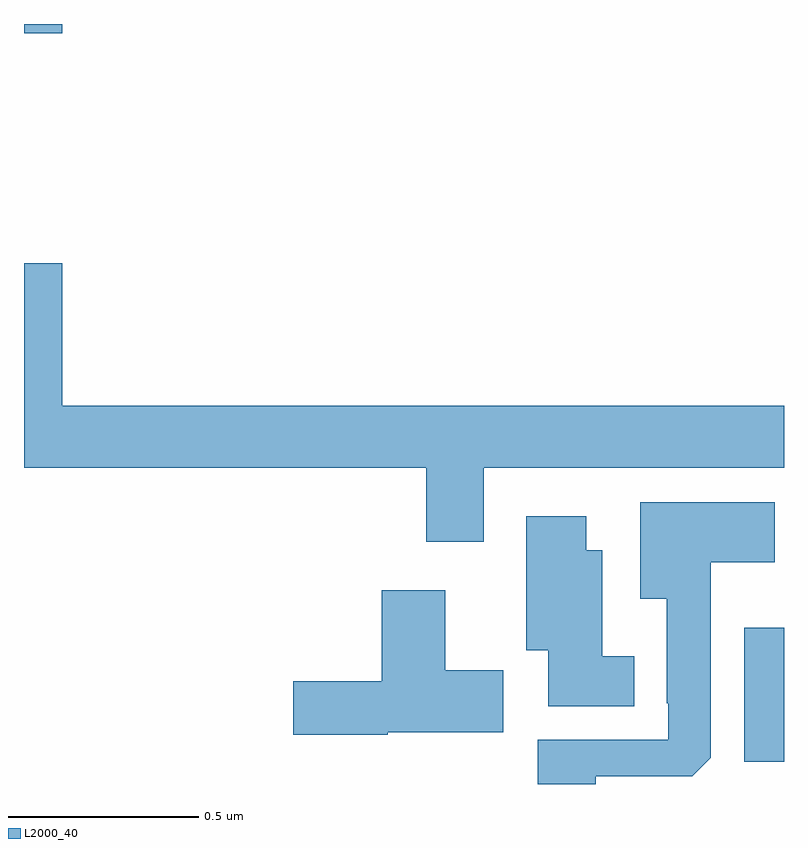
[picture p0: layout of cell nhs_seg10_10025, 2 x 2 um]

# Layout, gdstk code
import gdstk
lib = gdstk.Library(unit=1e-6, precision=1e-09)
def R(c, l, rs):  # rectangles x0, y0, x1, y1
    for r in rs: c.add(gdstk.rectangle(r[:2], r[2:], *l))
def P(c, l, *ps):  # polygons
    for p in ps: c.add(gdstk.Polygon(p, *l))
L2000_40 = (2000, 40)

nhs_seg10_10025 = lib.new_cell('nhs_seg10_10025')
R(nhs_seg10_10025, L2000_40, [(238.895,1283.558,239,1283.911), (237,1285.476,237.1,1285.5)])
P(nhs_seg10_10025, L2000_40, [(238.21,1284.332),(239,1284.332),(239,1284.496),(237.1,1284.496),(237.1,1284.871),(237,1284.871),(237,1284.332),(238.058,1284.332),(238.058,1284.138),(238.21,1284.138)],
  [(238.504,1283.52),(238.758,1283.52),(238.807,1283.569),(238.807,1284.083),(238.975,1284.083),(238.975,1284.241),(238.622,1284.241),(238.622,1283.987),(238.691,1283.987),(238.691,1283.713),(238.695,1283.713),(238.695,1283.616),(238.352,1283.616),(238.352,1283.5),(238.504,1283.5)],
  [(238.606,1283.836),(238.522,1283.836),(238.522,1284.115),(238.48,1284.115),(238.48,1284.205),(238.322,1284.205),(238.322,1283.852),(238.379,1283.852),(238.379,1283.705),(238.606,1283.705)],
  [(237.957,1283.636),(238.261,1283.636),(238.261,1283.799),(238.108,1283.799),(238.108,1284.01),(237.941,1284.01),(237.941,1283.771),(237.708,1283.771),(237.708,1283.629),(237.957,1283.629)])

lib.write_gds('nhs_seg10_10025.gds')
